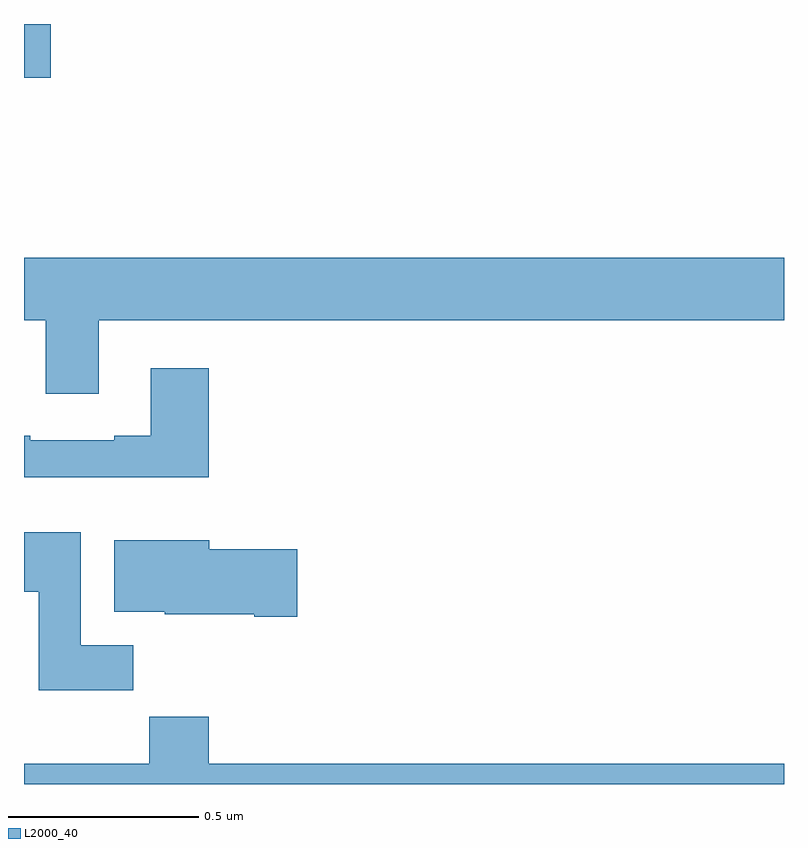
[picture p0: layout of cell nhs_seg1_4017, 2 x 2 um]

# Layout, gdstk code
import gdstk
lib = gdstk.Library(unit=1e-6, precision=1e-09)
def R(c, l, rs):  # rectangles x0, y0, x1, y1
    for r in rs: c.add(gdstk.rectangle(r[:2], r[2:], *l))
def P(c, l, *ps):  # polygons
    for p in ps: c.add(gdstk.Polygon(p, *l))
L2000_40 = (2000, 40)

nhs_seg1_4017 = lib.new_cell('nhs_seg1_4017')
R(nhs_seg1_4017, L2000_40, [(161,531.058,161.071,531.199)])
P(nhs_seg1_4017, L2000_40, [(161.197,530.42),(163,530.42),(163,530.584),(161,530.584),(161,530.42),(161.057,530.42),(161.057,530.226),(161.197,530.226)],
  [(161.486,530.293),(161.333,530.293),(161.333,530.116),(161.237,530.116),(161.237,530.103),(161.017,530.103),(161.017,530.116),(161,530.116),(161,530.006),(161.486,530.006)],
  [(161.288,529.564),(161.149,529.564),(161.149,529.861),(161,529.861),(161,529.705),(161.039,529.705),(161.039,529.446),(161.288,529.446)],
  [(161.719,529.817),(161.488,529.817),(161.488,529.84),(161.237,529.84),(161.237,529.652),(161.37,529.652),(161.37,529.646),(161.606,529.646),(161.606,529.639),(161.719,529.639)],
  [(163,529.252),(161.486,529.252),(161.486,529.376),(161.329,529.376),(161.329,529.252),(161,529.252),(161,529.199),(163,529.199)])

lib.write_gds('nhs_seg1_4017.gds')
